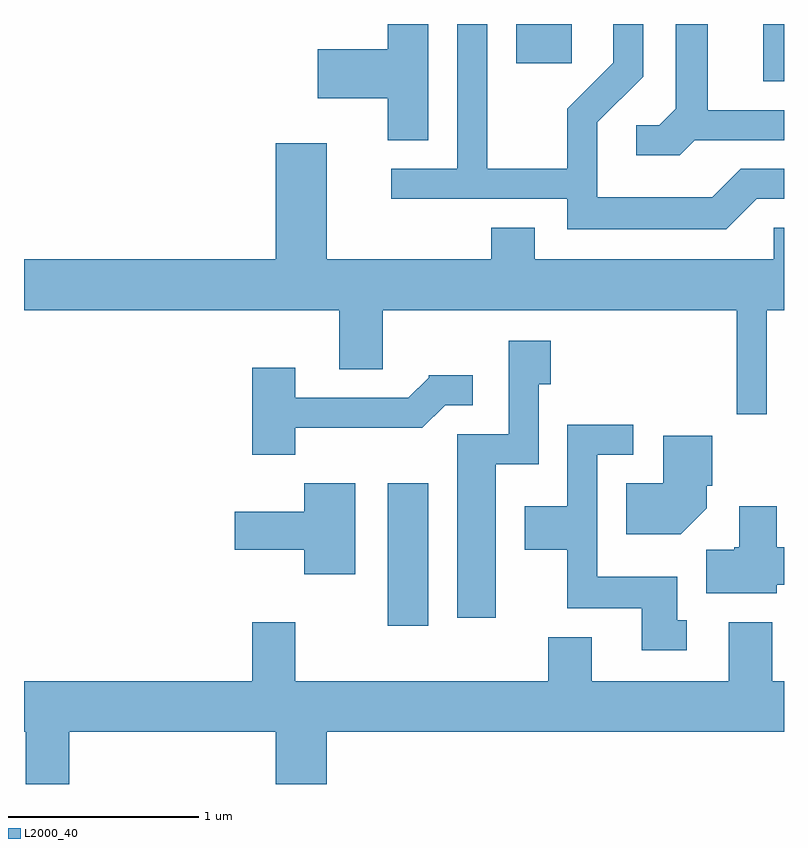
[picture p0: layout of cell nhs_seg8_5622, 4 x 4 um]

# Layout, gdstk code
import gdstk
lib = gdstk.Library(unit=1e-6, precision=1e-09)
def R(c, l, rs):  # rectangles x0, y0, x1, y1
    for r in rs: c.add(gdstk.rectangle(r[:2], r[2:], *l))
def P(c, l, *ps):  # polygons
    for p in ps: c.add(gdstk.Polygon(p, *l))
L2000_40 = (2000, 40)

nhs_seg8_5622 = lib.new_cell('nhs_seg8_5622')
R(nhs_seg8_5622, L2000_40, [(355.526,1859.176,355.739,1859.924), (357.501,1862.041,357.611,1862.342), (356.201,1862.136,356.494,1862.342)])
P(nhs_seg8_5622, L2000_40, [(357.467,1861.421),(357.611,1861.421),(357.611,1861.579),(357.384,1861.579),(357.234,1861.429),(356.629,1861.429),(356.629,1861.824),(356.869,1862.064),(356.869,1862.342),(356.711,1862.342),(356.711,1862.137),(356.471,1861.897),(356.471,1861.579),(356.049,1861.579),(356.049,1862.342),(355.891,1862.342),(355.891,1861.579),(355.543,1861.579),(355.543,1861.421),(356.471,1861.421),(356.471,1861.261),(357.307,1861.261)],
  [(357.142,1861.731),(357.611,1861.731),(357.611,1861.889),(357.209,1861.889),(357.209,1862.342),(357.041,1862.342),(357.041,1861.897),(356.954,1861.809),(356.833,1861.809),(356.833,1861.651),(357.062,1861.651)],
  [(355.739,1862.342),(355.526,1862.342),(355.526,1862.209),(355.156,1862.209),(355.156,1861.951),(355.526,1861.951),(355.526,1861.731),(355.739,1861.731)],
  [(357.519,1860.836),(357.611,1860.836),(357.611,1861.269),(357.556,1861.269),(357.556,1861.104),(356.299,1861.104),(356.299,1861.269),(356.071,1861.269),(356.071,1861.104),(355.204,1861.104),(355.204,1861.714),(354.936,1861.714),(354.936,1861.104),(353.611,1861.104),(353.611,1860.836),(355.271,1860.836),(355.271,1860.526),(355.499,1860.526),(355.499,1860.836),(357.361,1860.836),(357.361,1860.288),(357.519,1860.288)],
  [(356.094,1860.026),(356.319,1860.026),(356.319,1860.446),(356.384,1860.446),(356.384,1860.674),(356.161,1860.674),(356.161,1860.184),(355.891,1860.184),(355.891,1859.216),(356.094,1859.216)],
  [(355.039,1860.216),(355.707,1860.216),(355.827,1860.336),(355.973,1860.336),(355.973,1860.494),(355.74,1860.494),(355.74,1860.481),(355.634,1860.374),(355.039,1860.374),(355.039,1860.534),(354.811,1860.534),(354.811,1860.076),(355.039,1860.076)],
  [(357.098,1859.204),(357.049,1859.204),(357.049,1859.434),(356.629,1859.434),(356.629,1860.076),(356.818,1860.076),(356.818,1860.234),(356.471,1860.234),(356.471,1859.804),(356.246,1859.804),(356.246,1859.576),(356.471,1859.576),(356.471,1859.266),(356.861,1859.266),(356.861,1859.046),(357.098,1859.046)],
  [(357.204,1859.794),(357.204,1859.911),(357.234,1859.911),(357.234,1860.174),(356.976,1860.174),(356.976,1859.924),(356.781,1859.924),(356.781,1859.656),(357.067,1859.656)],
  [(355.354,1859.924),(355.086,1859.924),(355.086,1859.774),(354.721,1859.774),(354.721,1859.576),(355.086,1859.576),(355.086,1859.446),(355.354,1859.446)],
  [(357.574,1859.391),(357.611,1859.391),(357.611,1859.589),(357.574,1859.589),(357.574,1859.804),(357.376,1859.804),(357.376,1859.589),(357.35,1859.589),(357.35,1859.574),(357.201,1859.574),(357.201,1859.346),(357.574,1859.346)],
  [(353.849,1858.616),(354.936,1858.616),(354.936,1858.342),(355.204,1858.342),(355.204,1858.616),(357.611,1858.616),(357.611,1858.884),(357.549,1858.884),(357.549,1859.194),(357.321,1859.194),(357.321,1858.884),(356.599,1858.884),(356.599,1859.114),(356.371,1859.114),(356.371,1858.884),(355.039,1858.884),(355.039,1859.194),(354.811,1859.194),(354.811,1858.884),(353.611,1858.884),(353.611,1858.616),(353.621,1858.616),(353.621,1858.342),(353.849,1858.342)])

lib.write_gds('nhs_seg8_5622.gds')
